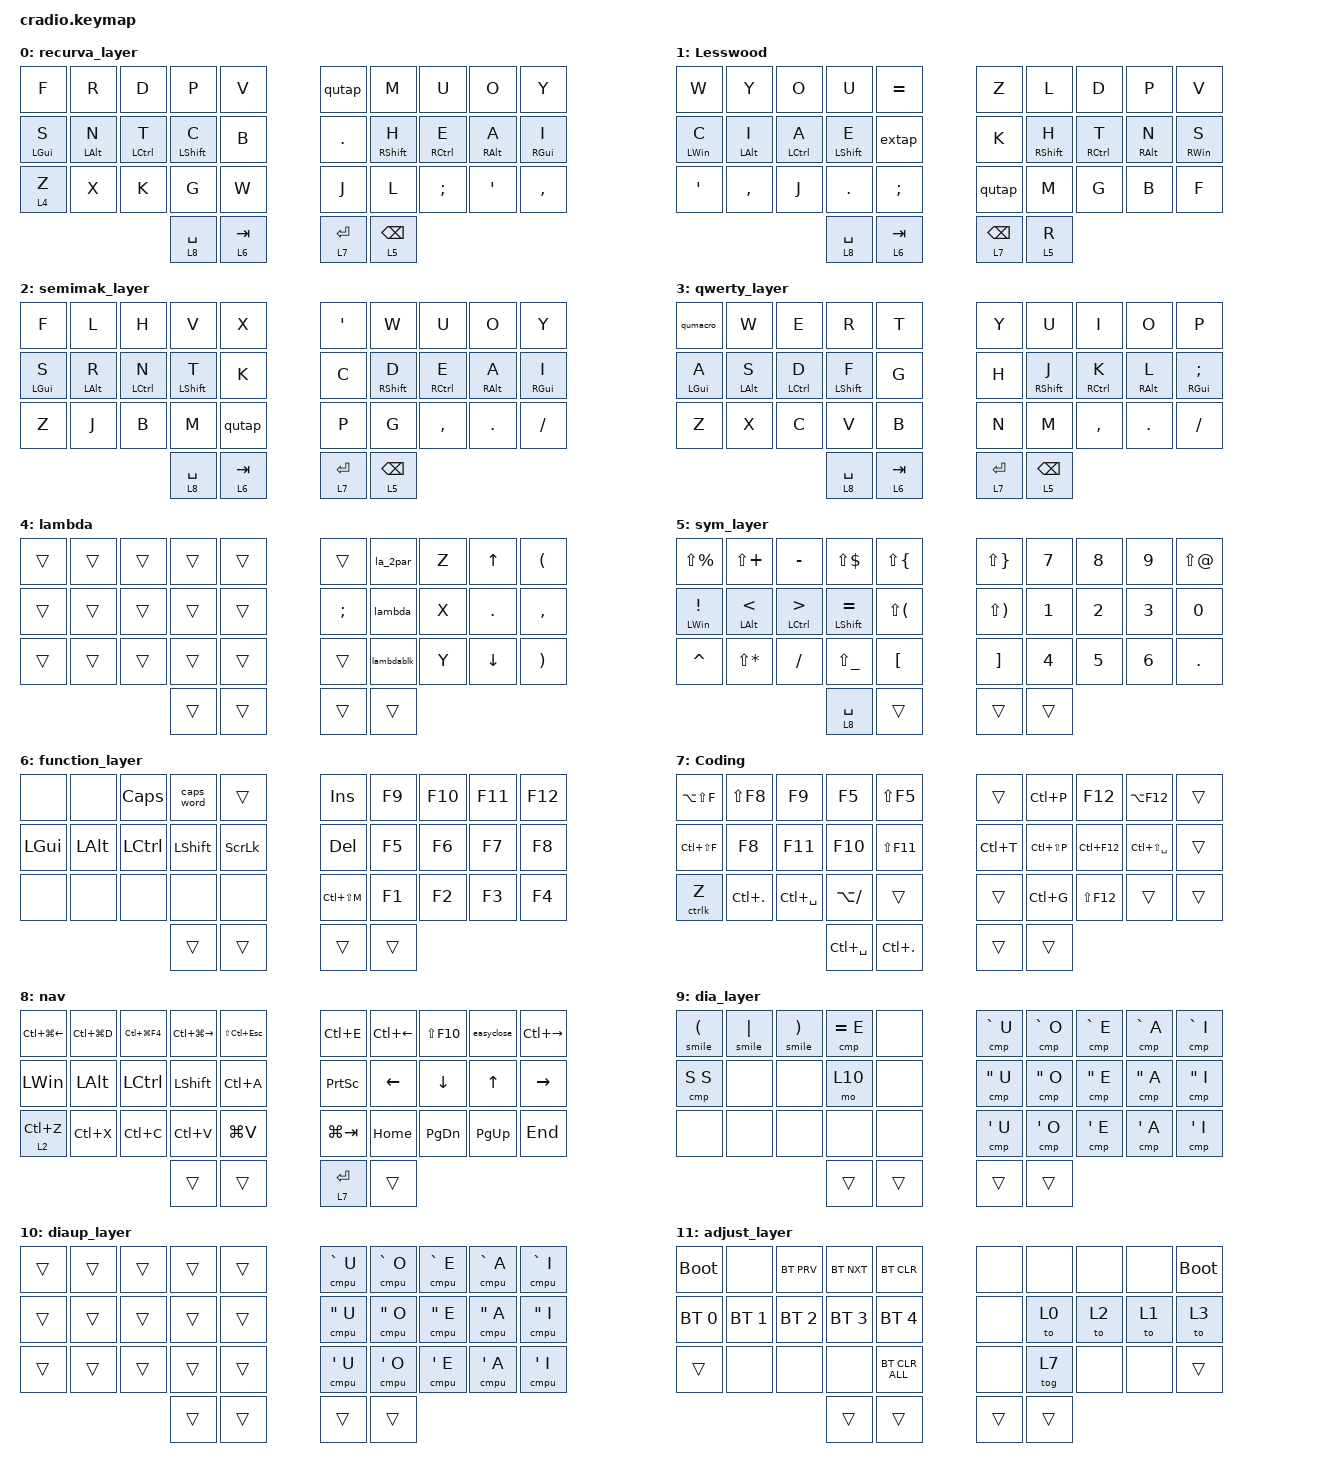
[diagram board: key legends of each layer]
#include "keypos.h"
#include <behaviors.dtsi>
#include <dt-bindings/zmk/bt.h>
#include <dt-bindings/zmk/keys.h>

#define LRC 1   //recurva_layer
#define LSM 0   //semimak_layer
#define LQW 2   //qwerty_layer
#define LSY 3   //sym_layer
#define LDA 4   //dia_layer
#define LDU 5   //diaup_layer
#define LFN 6   //function_layer
#define LNV 7   //nav_layer
#define LAD 8   //adjust_layer

/* Global settings */

#define QUICK_TAP_MS 175
#define KEYS_L LT0 LT1 LT2 LT3 LT4 LM0 LM1 LM2 LM3 LM4 LB0 LB1 LB2 LB3 LB4  // left-hand keys
#define KEYS_R RT0 RT1 RT2 RT3 RT4 RM0 RM1 RM2 RM3 RM4 RB0 RB1 RB2 RB3 RB4  // right-hand keys
#define THUMBS LH1 LH0 RH0 RH1                                              // thumb keys

/ {
    behaviors {
        hml: hml {
            compatible = "zmk,behavior-hold-tap";
            #binding-cells = <2>;
            flavor = "balanced";
            tapping-term-ms = <280>;
            quick-tap-ms = <QUICK_TAP_MS>;                // repeat on tap-into-hold
            require-prior-idle-ms = <150>;
            bindings = <&kp>, <&kp>;

            hold-trigger-key-positions = <KEYS_R THUMBS 32 33 25 26 27 28 29 19 18 17 16 15 5 6 7 9 8>;
            hold-trigger-on-release;             // delay positional check until key-release
        };

        hmr: hmr {
            compatible = "zmk,behavior-hold-tap";
            #binding-cells = <2>;
            flavor = "balanced";
            tapping-term-ms = <280>;
            quick-tap-ms = <QUICK_TAP_MS>;                // repeat on tap-into-hold
            require-prior-idle-ms = <150>;
            bindings = <&kp>, <&kp>;

            hold-trigger-key-positions = <KEYS_L THUMBS 0 1 2 3 4 10 11 12 13 14 20 21 22 23 24 30 31>;
            hold-trigger-on-release;             // delay positional check until key-release
        };

        easynew: easynew {
            compatible = "zmk,behavior-mod-morph";
            label = "EASYNEW";
            bindings = <&kp LC(N)>, <&kp N>;

            #binding-cells = <0>;
            mods = <(MOD_LALT)>;
            keep-mods = <(MOD_LALT|MOD_LCTL)>;
        };

        easyclose: easyclose {
            compatible = "zmk,behavior-mod-morph";
            label = "EASYCLOSE";
            bindings = <&kp LC(F4)>, <&kp F4>;

            #binding-cells = <0>;
            mods = <(MOD_LALT|MOD_RALT)>;
            keep-mods = <(MOD_RALT|MOD_LALT)>;
        };

        qutap: qutap {
            compatible = "zmk,behavior-tap-dance";
            label = "QUTAP";
            #binding-cells = <0>;
            bindings = <&qumacro>, <&kp Q>;

            tapping-term-ms = <200>;
        };

        extap: extap {
            compatible = "zmk,behavior-tap-dance";
            label = "EXTAP";
            #binding-cells = <0>;
            bindings = <&kp X>, <&m_ex>;

            tapping-term-ms = <150>;
        };
    };

    combos {
        compatible = "zmk,combos";

        combo_caps {
            timeout-ms = <50>;
            key-positions = <13 16>;
            bindings = <&caps_word>;
            layers = <1 2 0 3>;
        };

        u_caret {
            bindings = <&cmp CARET U>;
            key-positions = <5 15>;
            layers = <9>;
        };

        o_caret {
            bindings = <&cmp CARET O>;
            key-positions = <6 16>;
            layers = <9>;
        };

        e_caret {
            bindings = <&cmp CARET E>;
            key-positions = <7 17>;
            layers = <9>;
        };

        a_caret {
            bindings = <&cmp CARET A>;
            key-positions = <8 18>;
            layers = <9>;
        };

        i_caret {
            bindings = <&cmp CARET I>;
            key-positions = <9 19>;
            layers = <9>;
        };

        uu_caret {
            bindings = <&cmpu CARET U>;
            key-positions = <5 15>;
            layers = <10>;
        };

        ou_caret {
            bindings = <&cmpu CARET O>;
            key-positions = <6 16>;
            layers = <10>;
        };

        eu_caret {
            bindings = <&cmpu CARET E>;
            key-positions = <7 17>;
            layers = <10>;
        };

        au_caret {
            bindings = <&cmpu CARET A>;
            key-positions = <8 18>;
            layers = <10>;
        };

        iu_caret {
            bindings = <&cmpu CARET I>;
            key-positions = <9 19>;
            layers = <10>;
        };

        Semicolon {
            bindings = <&kp SEMI>;
            key-positions = <27 28>;
            layers = <2>;
        };

        exclaim {
            bindings = <&kp EXCL>;
            key-positions = <26 27>;
            layers = <1 2 0 3>;
        };

        dquot {
            bindings = <&kp DQT>;
            key-positions = <27 28>;
            layers = <1 0>;
        };

        question {
            bindings = <&kp QUESTION>;
            key-positions = <23 22>;
            layers = <1 0 3 2>;
        };

        colon {
            bindings = <&kp COLON>;
            key-positions = <21 22>;
            layers = <1 0 2>;
        };

        slash {
            bindings = <&kp SLASH>;
            key-positions = <20 21>;
            layers = <1 0 2 5>;
        };

        backslash {
            bindings = <&kp BSLH>;
            key-positions = <28 29>;
            layers = <1 2 0 3 5>;
        };

        escape {
            bindings = <&kp ESC>;
            key-positions = <31 30>;
        };

        delete {
            bindings = <&kp DEL>;
            key-positions = <32 33>;
        };

        isnot {
            bindings = <&isnot>;
            key-positions = <10 13>;
            layers = <5>;
        };

        lambda {
            bindings = <&lambda>;
            key-positions = <13 12>;
            layers = <5>;
        };

        lambdablk {
            bindings = <&lambdablk>;
            key-positions = <13 12 11>;
            layers = <5>;
        };

        ampersand {
            bindings = <&kp AMPS>;
            key-positions = <6 16>;
            layers = <5>;
        };

        pipe {
            bindings = <&kp PIPE>;
            key-positions = <7 17>;
            layers = <5>;
        };

        grave {
            bindings = <&kp GRAVE>;
            key-positions = <0 1>;
        };

        ZeroZero {
            bindings = <&zerozero>;
            key-positions = <19 18>;
            layers = <5>;
        };

        ZeroZeroZero {
            bindings = <&zerozerozero>;
            key-positions = <19 18 17>;
            layers = <5>;
        };

        entercombo {
            bindings = <&kp ENTER>;
            key-positions = <16 17>;
            layers = <1>;
        };

        hashcombo {
            bindings = <&kp HASH>;
            key-positions = <3 13>;
            layers = <5>;
        };

        copilot {
            bindings = <&kp LA(SLASH)>;
            key-positions = <31 30>;
            layers = <7>;
        };

        c_ja {
            bindings = <&m_ja>;
            key-positions = <22 12>;
            layers = <1>;
        };

        c_wij {
            bindings = <&m_wij>;
            key-positions = <0 1>;
            layers = <1>;
        };

        c_jo {
            bindings = <&m_jo>;
            key-positions = <1 2>;
            layers = <1>;
        };

        c_jou {
            bindings = <&m_jou>;
            key-positions = <1 2 3>;
            layers = <1>;
        };
    };

    macros {
        smile: smile {
            compatible = "zmk,behavior-macro-one-param";
            #binding-cells = <1>;
            bindings = <&kp COLON &kp MINUS &macro_param_1to1 &kp MACRO_PLACEHOLDER>;
            label = "SMILE";
        };

        cmp: comp {
            compatible = "zmk,behavior-macro-two-param";
            #binding-cells = <2>;
            bindings = <&kp RALT &macro_param_1to1 &kp MACRO_PLACEHOLDER &macro_param_2to1 &kp MACRO_PLACEHOLDER>;
            label = "COMP";
        };

        cmpu: compup {
            compatible = "zmk,behavior-macro-two-param";
            #binding-cells = <2>;
            bindings =
                <&kp RALT &macro_param_1to1 &kp MACRO_PLACEHOLDER>,
                <&macro_press>,
                <&kp LSHFT>,
                <&macro_tap>,
                <&macro_param_2to1 &kp MACRO_PLACEHOLDER>,
                <&macro_release>,
                <&kp LSHFT>;

            label = "COMPUP";
        };

        isnot: isnot {
            compatible = "zmk,behavior-macro";
            #binding-cells = <0>;
            bindings = <&kp SPACE &kp I &kp S &kp SPACE &kp N &kp O &kp T &kp SPACE>;
            label = "ISNOT";
        };

        lambda: lambda {
            compatible = "zmk,behavior-macro";
            #binding-cells = <0>;
            bindings = <&kp SPACE &kp EQUAL &kp GT &kp SPACE>;
            label = "LAMBDA";
        };

        lambdablk: lambdablk {
            compatible = "zmk,behavior-macro";
            #binding-cells = <0>;
            bindings = <&lambda &kp LBRC &kp ENTER>;
            label = "LAMBDABLK";
        };

        zerozero: zerozero {
            compatible = "zmk,behavior-macro";
            #binding-cells = <0>;
            bindings = <&kp N0 &kp N0>;
            label = "ZEROZERO";
        };

        zerozerozero: zerozerozero {
            compatible = "zmk,behavior-macro";
            #binding-cells = <0>;
            bindings = <&kp N0 &kp N0 &kp N0>;
            label = "ZEROZEROZERO";
        };

        qumacro: QuMacro {
            compatible = "zmk,behavior-macro";
            #binding-cells = <0>;
            bindings =
                <&kp Q>,
                <&macro_release>,
                <&kp LSHFT &kp RSHFT>,
                <&macro_tap>,
                <&kp U>;

            label = "QUMacro";
            wait-ms = <10>;
            tap-ms = <10>;
        };

        ctrlk: ctrlk {
            compatible = "zmk,behavior-macro-one-param";
            #binding-cells = <1>;
            bindings = <&kp LC(K) &macro_param_1to1 &kp MACRO_PLACEHOLDER>;
            label = "CTRLK";
        };

        la_2par: la_2par {
            compatible = "zmk,behavior-macro";
            #binding-cells = <0>;
            bindings = <&kp LPAR &kp X &kp COMMA &kp Y &kp RPAR>;
            label = "LA_2PAR";
        };

        m_ja: m_ja {
            compatible = "zmk,behavior-macro";
            #binding-cells = <0>;
            bindings =
                <&kp J>,
                <&macro_release>,
                <&kp LSHFT &kp RSHFT>,
                <&macro_tap>,
                <&kp A>;

            label = "M_JA";
            wait-ms = <1>;
            tap-ms = <1>;
        };

        m_wij: m_wij {
            compatible = "zmk,behavior-macro";
            #binding-cells = <0>;
            bindings =
                <&kp W>,
                <&macro_release>,
                <&kp LSHFT &kp RSHFT>,
                <&macro_tap>,
                <&kp I &kp J>;

            label = "M_WIJ";
            wait-ms = <1>;
            tap-ms = <1>;
        };

        m_jou: m_jou {
            compatible = "zmk,behavior-macro";
            #binding-cells = <0>;
            bindings =
                <&kp J>,
                <&macro_release>,
                <&kp LSHFT &kp RSHFT>,
                <&macro_tap>,
                <&kp O &kp U>;

            label = "M_JOU";
            wait-ms = <1>;
            tap-ms = <1>;
        };

        m_jo: m_jo {
            compatible = "zmk,behavior-macro";
            #binding-cells = <0>;
            bindings =
                <&kp J>,
                <&macro_release>,
                <&kp LSHFT &kp RSHFT>,
                <&macro_tap>,
                <&kp O>;

            label = "M_JO";
            wait-ms = <1>;
            tap-ms = <1>;
        };

        m_ex: m_ex {
            compatible = "zmk,behavior-macro";
            #binding-cells = <0>;
            bindings =
                <&kp E>,
                <&macro_release>,
                <&kp LSHFT &kp RSHFT>,
                <&macro_tap>,
                <&kp X>;

            label = "M_EX";
            wait-ms = <1>;
            tap-ms = <1>;
        };
    };

    keymap {
        compatible = "zmk,keymap";

        recurva_layer {
            /* Recurva colstag 1 
 *
 * ,----------------------------------.                      ,----------------------------------.
 * |   F  |   R  |   D  |   P  |   V  |                      |   Q  |   M  |   U  |   O  |   Y  |
 * |------+------+------+------+------|                      |------+------+------+------+------|
 * |   S  |   N  |   T  |   C  |   B  |                      |   .  |   H  |   E  |   A  |   I  |
 * |------+------+------+------+------|                      |------+------+------+------+------|
 * |   Z  |   X  |   K  |   G  |   W  |                      |   J  |   L  |   ;  |   '  |   ,  |
 * `----------------------------------'                      `----------------------------------'
 *                      ,--------------.                     ,------------.  
 *                      | SPACE | TAB  |                     | ENTER | BS |  
 *                      `--------------'                     `------------'  
 */

            bindings = <
&kp F        &kp R        &kp D         &kp P         &kp V        &qutap       &kp M         &kp U         &kp O        &kp Y
&hml LGUI S  &hml LALT N  &hml LCTRL T  &hml LSHFT C  &kp B        &kp DOT      &hmr RSHFT H  &hmr RCTRL E  &hmr RALT A  &hmr RGUI I
&lt 4 Z      &kp X        &kp K         &kp G         &kp W        &kp J        &kp L         &kp SEMI      &kp SQT      &kp COMMA
                                        &lt 8 SPACE   &lt 6 TAB    &lt 7 ENTER  &lt 5 BSPC
            >;
        };

        Lesswood {
            bindings = <
&kp W        &kp Y        &kp O         &kp U         &kp EQUAL    &kp Z       &kp L         &kp D         &kp P        &kp V
&hml LWIN C  &hml LALT I  &hml LCTRL A  &hml LSHFT E  &extap       &kp K       &hmr RSHFT H  &hmr RCTRL T  &hmr RALT N  &hmr RWIN S
&kp SQT      &kp COMMA    &kp J         &kp DOT       &kp SEMI     &qutap      &kp M         &kp G         &kp B        &kp F
                                        &lt 8 SPACE   &lt 6 TAB    &lt 7 BSPC  &lt 5 R
            >;
        };

        semimak_layer {
            /* Semimak JQZ
 *
 * ,----------------------------------.                      ,----------------------------------.
 * |   F  |   L  |   H  |   V  |   X  |                      |   '  |   W  |   U  |   O  |   Y  |
 * |------+------+------+------+------|                      |------+------+------+------+------|
 * |   S  |   R  |   N  |   T  |   K  |                      |   C  |   D  |   E  |   A  |   I  |
 * |------+------+------+------+------|                      |------+------+------+------+------|
 * |   Z  |   J  |   B  |   M  |   Q  |                      |   P  |   G  |   ,  |   .  |   /  |
 * `----------------------------------'                      `----------------------------------'
 *                      ,--------------.                     ,------------.  
 *                      | SPACE | TAB  |                     | ENTER | BS |  
 *                      `--------------'                     `------------'  
 */

            bindings = <
&kp F        &kp L        &kp H         &kp V         &kp X        &kp SQT      &kp W         &kp U         &kp O        &kp Y
&hml LGUI S  &hml LALT R  &hml LCTRL N  &hml LSHFT T  &kp K        &kp C        &hmr RSHFT D  &hmr RCTRL E  &hmr RALT A  &hmr RGUI I
&kp Z        &kp J        &kp B         &kp M         &qutap       &kp P        &kp G         &kp COMMA     &kp DOT      &kp FSLH
                                        &lt 8 SPACE   &lt 6 TAB    &lt 7 ENTER  &lt 5 BSPC
            >;
        };

        qwerty_layer {
            bindings = <
&qumacro     &kp W        &kp E         &kp R         &kp T        &kp Y        &kp U         &kp I         &kp O        &kp P
&hml LGUI A  &hml LALT S  &hml LCTRL D  &hml LSHFT F  &kp G        &kp H        &hmr RSHFT J  &hmr RCTRL K  &hmr RALT L  &hmr RGUI SEMI
&kp Z        &kp X        &kp C         &kp V         &kp B        &kp N        &kp M         &kp COMMA     &kp DOT      &kp FSLH
                                        &lt 8 SPACE   &lt 6 TAB    &lt 7 ENTER  &lt 5 BSPC
            >;
        };

        lambda {
            bindings = <
&trans  &trans  &trans  &trans  &trans    &trans    &la_2par    &kp Z  &kp UP    &kp LEFT_PARENTHESIS
&trans  &trans  &trans  &trans  &trans    &kp SEMI  &lambda     &kp X  &kp DOT   &kp COMMA
&trans  &trans  &trans  &trans  &trans    &trans    &lambdablk  &kp Y  &kp DOWN  &kp RPAR
                        &trans  &trans    &trans    &trans
            >;
        };

        sym_layer {
            bindings = <
&kp LS(PRCNT)   &kp LS(PLUS)  &kp MINUS      &kp LS(DLLR)      &kp LS(LBRC)    &kp LS(RBRC)  &kp N7  &kp N8  &kp N9  &kp LS(AT)
&hml LWIN EXCL  &hml LALT LT  &hml LCTRL GT  &hml LSHFT EQUAL  &kp LS(LPAR)    &kp LS(RPAR)  &kp N1  &kp N2  &kp N3  &kp N0
&kp CARET       &kp LS(STAR)  &kp FSLH       &kp LS(UNDER)     &kp LBKT        &kp RBKT      &kp N4  &kp N5  &kp N6  &kp DOT
                                             &lt 8 SPACE       &trans          &trans        &trans
            >;
        };

        function_layer {
            bindings = <
&none     &none     &kp CAPS   &caps_word  &trans      &kp INS        &kp F9  &kp F10  &kp F11  &kp F12
&kp LGUI  &kp LALT  &kp LCTRL  &kp LSHFT   &kp SLCK    &kp DEL        &kp F5  &kp F6   &kp F7   &kp F8
&none     &none     &none      &none       &none       &kp LC(LS(M))  &kp F1  &kp F2   &kp F3   &kp F4
                               &trans      &trans      &trans         &trans
            >;
        };

        Coding {
            bindings = <
&kp LA(LS(F))  &kp LS(F8)   &kp F9         &kp F5         &kp LS(F5)     &trans     &kp LC(P)      &kp F12      &kp LA(F12)        &trans
&kp LC(LS(F))  &kp F8       &kp F11        &kp F10        &kp LS(F11)    &kp LC(T)  &kp LC(LS(P))  &kp LC(F12)  &kp LC(LS(SPACE))  &trans
&ctrlk Z       &kp LC(DOT)  &kp LC(SPACE)  &kp LA(FSLH)   &trans         &trans     &kp LC(G)      &kp LS(F12)  &trans             &trans
                                           &kp LC(SPACE)  &kp LC(DOT)    &trans     &trans
            >;
        };

        nav_layer {
            bindings = <
&kp LC(LG(LEFT))  &kp LC(LG(D))  &kp LC(LG(F4))  &kp LC(LG(RIGHT))  &kp LS(LC(ESC))    &kp LC(E)    &kp LC(LEFT)  &kp LS(F10)  &easyclose  &kp LC(RIGHT)
&kp LWIN          &kp LALT       &kp LCTRL       &kp LSHIFT         &kp LC(A)          &kp PSCRN    &kp LEFT      &kp DOWN     &kp UP      &kp RIGHT
&lt 2 LC(Z)       &kp LC(X)      &kp LC(C)       &kp LC(V)          &kp LG(V)          &kp LG(TAB)  &kp HOME      &kp PG_DN    &kp PG_UP   &kp END
                                                 &trans             &trans             &lt 7 ENTER  &trans
            >;

            label = "nav";
        };

        dia_layer {
            bindings = <
&smile LPAR  &smile PIPE  &smile RPAR  &cmp EQUAL E  &none     &cmp GRAVE U  &cmp GRAVE O  &cmp GRAVE E  &cmp GRAVE A  &cmp GRAVE I
&cmp S S     &none        &none        &mo 10        &none     &cmp DQT U    &cmp DQT O    &cmp DQT E    &cmp DQT A    &cmp DQT I
&none        &none        &none        &none         &none     &cmp SQT U    &cmp SQT O    &cmp SQT E    &cmp SQT A    &cmp SQT I
                                       &trans        &trans    &trans        &trans
            >;
        };

        diaup_layer {
            bindings = <
&trans  &trans  &trans  &trans  &trans    &cmpu GRAVE U  &cmpu GRAVE O  &cmpu GRAVE E  &cmpu GRAVE A  &cmpu GRAVE I
&trans  &trans  &trans  &trans  &trans    &cmpu DQT U    &cmpu DQT O    &cmpu DQT E    &cmpu DQT A    &cmpu DQT I
&trans  &trans  &trans  &trans  &trans    &cmpu SQT U    &cmpu SQT O    &cmpu SQT E    &cmpu SQT A    &cmpu SQT I
                        &trans  &trans    &trans         &trans
            >;
        };

        adjust_layer {
            bindings = <
&bootloader   &none         &bt BT_PRV    &bt BT_NXT    &bt BT_CLR        &none   &none   &none  &none  &bootloader
&bt BT_SEL 0  &bt BT_SEL 1  &bt BT_SEL 2  &bt BT_SEL 3  &bt BT_SEL 4      &none   &to 0   &to 2  &to 1  &to 3
&trans        &none         &none         &none         &bt BT_CLR_ALL    &none   &tog 7  &none  &none  &trans
                                          &trans        &trans            &trans  &trans
            >;
        };
    };

    conditional_layers {
        compatible = "zmk,conditional-layers";

        adjustlayer {
            if-layers = <8 7>;
            then-layer = <11>;
        };

        dialayer {
            if-layers = <8 5>;
            then-layer = <9>;
        };
    };
};
